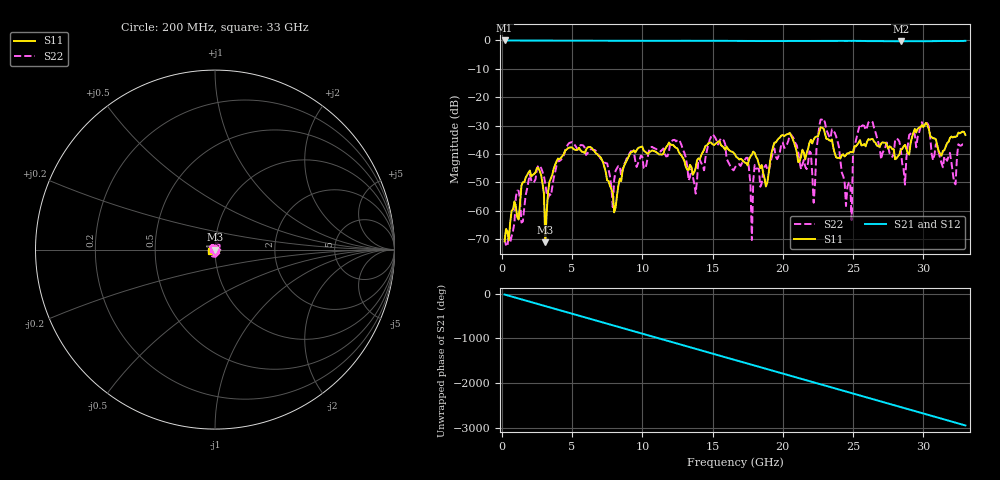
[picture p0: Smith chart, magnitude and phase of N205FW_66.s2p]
# GHZ S RI R 50
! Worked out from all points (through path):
!   329 points, 200 MHz to 33 GHz, reference 50 ohm
!   highest |S21| = -0.02 dB at 200 MHz (marker M1); lowest = -0.3 dB at 28.4 GHz (marker M2)
!   group delay of S21, straight-line fit = 248 ps
!   lowest |S11| = -71.1 dB at 3.1 GHz (marker M3), VSWR 1.00, Z = 50 + j0.0136 ohm
!   |S11| at or under -10 dB: start of sweep to end of sweep
!   |S22| runs from -72.4 to -27.5 dB; largest |S21 - S12| = 0.0022
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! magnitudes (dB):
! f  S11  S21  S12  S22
! 200 MHz  -70.8  0.0  0.0  -69.7
! 2.6 GHz  -44.9  -0.1  -0.1  -44.0
! 3.1 GHz  -71.1  -0.1  -0.1  -50.7
! 3.9 GHz  -42.5  -0.1  -0.1  -44.0
! 5.7 GHz  -39.2  -0.1  -0.1  -36.9
! 7.9 GHz  -53.9  -0.1  -0.1  -58.7
! 11.2 GHz  -40.2  -0.2  -0.2  -39.0
! 16.6 GHz  -40.2  -0.2  -0.2  -44.8
! 17.5 GHz  -44.0  -0.2  -0.2  -41.3
! 17.8 GHz  -40.2  -0.2  -0.2  -70.3
! 18 GHz  -39.6  -0.2  -0.2  -43.9
! 22.1 GHz  -36.3  -0.2  -0.2  -47.2
! 22.9 GHz  -31.0  -0.2  -0.2  -27.5
! 24.9 GHz  -39.4  -0.2  -0.2  -63.3
! 25 GHz  -39.4  -0.2  -0.2  -39.8
! 25.5 GHz  -35.1  -0.2  -0.2  -29.5
! 27.6 GHz  -37.3  -0.3  -0.3  -39.7
! 28.4 GHz  -38.4  -0.3  -0.3  -38.3
! 28.7 GHz  -36.8  -0.3  -0.3  -50.8
! 30.3 GHz  -29.8  -0.3  -0.3  -29.2
! 32.3 GHz  -33.9  -0.2  -0.2  -50.7
! 33 GHz  -33.3  -0.2  -0.2  -36.6
